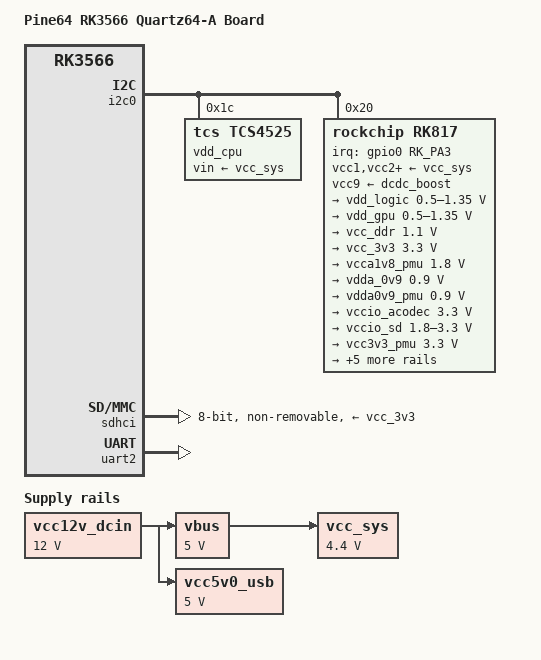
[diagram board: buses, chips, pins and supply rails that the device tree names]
// SPDX-License-Identifier: (GPL-2.0+ OR MIT)

/dts-v1/;

#include <dt-bindings/gpio/gpio.h>
#include <dt-bindings/pinctrl/rockchip.h>
#include "rk3566.dtsi"

/ {
	model = "Pine64 RK3566 Quartz64-A Board";
	compatible = "pine64,quartz64-a", "rockchip,rk3566";

	aliases {
		mmc1 = &sdhci;
	};

	chosen: chosen {
		stdout-path = "serial2:1500000n8";
	};

	vcc12v_dcin: vcc12v_dcin {
		compatible = "regulator-fixed";
		regulator-name = "vcc12v_dcin";
		regulator-always-on;
		regulator-boot-on;
		regulator-min-microvolt = <12000000>;
		regulator-max-microvolt = <12000000>;
	};

	/* vbus feeds the rk817 usb input.
	 * With no battery attached, also feeds vcc_bat+
	 * via ON/OFF_BAT jumper
	 */
	vbus: vbus {
		compatible = "regulator-fixed";
		regulator-name = "vbus";
		regulator-always-on;
		regulator-boot-on;
		regulator-min-microvolt = <5000000>;
		regulator-max-microvolt = <5000000>;
		vin-supply = <&vcc12v_dcin>;
	};

	vcc5v0_usb: vcc5v0_usb {
		compatible = "regulator-fixed";
		regulator-name = "vcc5v0_usb";
		regulator-always-on;
		regulator-boot-on;
		regulator-min-microvolt = <5000000>;
		regulator-max-microvolt = <5000000>;
		vin-supply = <&vcc12v_dcin>;
	};

	/* sourced from vbus and vcc_bat+ via rk817 sw5 */
	vcc_sys: vcc_sys {
		compatible = "regulator-fixed";
		regulator-name = "vcc_sys";
		regulator-always-on;
		regulator-boot-on;
		regulator-min-microvolt = <4400000>;
		regulator-max-microvolt = <4400000>;
		vin-supply = <&vbus>;
	};
};

&cpu0 {
	cpu-supply = <&vdd_cpu>;
};

&cpu1 {
	cpu-supply = <&vdd_cpu>;
};

&cpu2 {
	cpu-supply = <&vdd_cpu>;
};

&cpu3 {
	cpu-supply = <&vdd_cpu>;
};

&i2c0 {
	status = "okay";

	vdd_cpu: regulator@1c {
		compatible = "tcs,tcs4525";
		reg = <0x1c>;
		fcs,suspend-voltage-selector = <1>;
		regulator-name = "vdd_cpu";
		regulator-min-microvolt = <800000>;
		regulator-max-microvolt = <1150000>;
		regulator-ramp-delay = <2300>;
		regulator-always-on;
		regulator-boot-on;
		vin-supply = <&vcc_sys>;

		regulator-state-mem {
			regulator-off-in-suspend;
		};
	};

	rk817: pmic@20 {
		compatible = "rockchip,rk817";
		reg = <0x20>;
		interrupt-parent = <&gpio0>;
		interrupts = <RK_PA3 IRQ_TYPE_LEVEL_LOW>;
		clock-output-names = "rk808-clkout1", "rk808-clkout2";

		pinctrl-names = "default";
		pinctrl-0 = <&pmic_int_l>;
		rockchip,system-power-controller;
		wakeup-source;
		#clock-cells = <1>;

		vcc1-supply = <&vcc_sys>;
		vcc2-supply = <&vcc_sys>;
		vcc3-supply = <&vcc_sys>;
		vcc4-supply = <&vcc_sys>;
		vcc5-supply = <&vcc_sys>;
		vcc6-supply = <&vcc_sys>;
		vcc7-supply = <&vcc_sys>;
		vcc8-supply = <&vcc_sys>;
		vcc9-supply = <&dcdc_boost>;

		regulators {
			vdd_logic: DCDC_REG1 {
				regulator-always-on;
				regulator-boot-on;
				regulator-min-microvolt = <500000>;
				regulator-max-microvolt = <1350000>;
				regulator-init-microvolt = <900000>;
				regulator-ramp-delay = <6001>;
				regulator-initial-mode = <0x2>;
				regulator-name = "vdd_logic";
				regulator-state-mem {
					regulator-on-in-suspend;
					regulator-suspend-microvolt = <900000>;
				};
			};

			vdd_gpu: DCDC_REG2 {
				regulator-always-on;
				regulator-boot-on;
				regulator-min-microvolt = <500000>;
				regulator-max-microvolt = <1350000>;
				regulator-init-microvolt = <900000>;
				regulator-ramp-delay = <6001>;
				regulator-initial-mode = <0x2>;
				regulator-name = "vdd_gpu";
					regulator-state-mem {
					regulator-off-in-suspend;
				};
			};

			vcc_ddr: DCDC_REG3 {
				regulator-always-on;
				regulator-boot-on;
				regulator-min-microvolt = <1100000>;
				regulator-max-microvolt = <1100000>;
				regulator-initial-mode = <0x2>;
				regulator-name = "vcc_ddr";
				regulator-state-mem {
					regulator-on-in-suspend;
				};
			};

			vcc_3v3: DCDC_REG4 {
				regulator-always-on;
				regulator-boot-on;
				regulator-min-microvolt = <3300000>;
				regulator-max-microvolt = <3300000>;
				regulator-initial-mode = <0x2>;
				regulator-name = "vcc_3v3";
				regulator-state-mem {
					regulator-off-in-suspend;
				};
			};

			vcca1v8_pmu: LDO_REG1 {
				regulator-always-on;
				regulator-boot-on;
				regulator-min-microvolt = <1800000>;
				regulator-max-microvolt = <1800000>;
				regulator-name = "vcca1v8_pmu";
				regulator-state-mem {
					regulator-on-in-suspend;
					regulator-suspend-microvolt = <1800000>;
				};
			};

			vdda_0v9: LDO_REG2 {
				regulator-always-on;
				regulator-boot-on;
				regulator-min-microvolt = <900000>;
				regulator-max-microvolt = <900000>;
				regulator-name = "vdda_0v9";
				regulator-state-mem {
					regulator-off-in-suspend;
				};
			};

			vdda0v9_pmu: LDO_REG3 {
				regulator-always-on;
				regulator-boot-on;
				regulator-min-microvolt = <900000>;
				regulator-max-microvolt = <900000>;
				regulator-name = "vdda0v9_pmu";
				regulator-state-mem {
					regulator-on-in-suspend;
					regulator-suspend-microvolt = <900000>;
				};
			};

			vccio_acodec: LDO_REG4 {
				regulator-always-on;
				regulator-boot-on;
				regulator-min-microvolt = <3300000>;
				regulator-max-microvolt = <3300000>;
				regulator-name = "vccio_acodec";
				regulator-state-mem {
					regulator-off-in-suspend;
				};
			};

			vccio_sd: LDO_REG5 {
				regulator-always-on;
				regulator-boot-on;
				regulator-min-microvolt = <1800000>;
				regulator-max-microvolt = <3300000>;
				regulator-name = "vccio_sd";
				regulator-state-mem {
					regulator-off-in-suspend;
				};
			};

			vcc3v3_pmu: LDO_REG6 {
				regulator-always-on;
				regulator-boot-on;
				regulator-min-microvolt = <3300000>;
				regulator-max-microvolt = <3300000>;
				regulator-name = "vcc3v3_pmu";
				regulator-state-mem {
					regulator-on-in-suspend;
					regulator-suspend-microvolt = <3300000>;
				};
			};

			vcc_1v8: LDO_REG7 {
				regulator-always-on;
				regulator-boot-on;
				regulator-min-microvolt = <1800000>;
				regulator-max-microvolt = <1800000>;
				regulator-name = "vcc_1v8";
				regulator-state-mem {
					regulator-off-in-suspend;
				};
			};

			vcc1v8_dvp: LDO_REG8 {
				regulator-always-on;
				regulator-boot-on;
				regulator-min-microvolt = <1800000>;
				regulator-max-microvolt = <1800000>;
				regulator-name = "vcc1v8_dvp";
				regulator-state-mem {
					regulator-off-in-suspend;
				};
			};

			vcc2v8_dvp: LDO_REG9 {
				regulator-always-on;
				regulator-boot-on;
				regulator-min-microvolt = <2800000>;
				regulator-max-microvolt = <2800000>;
				regulator-name = "vcc2v8_dvp";
				regulator-state-mem {
					regulator-off-in-suspend;
				};
			};

			dcdc_boost: BOOST {
				regulator-always-on;
				regulator-boot-on;
				regulator-min-microvolt = <5000000>;
				regulator-max-microvolt = <5000000>;
				regulator-name = "boost";
				regulator-state-mem {
					regulator-off-in-suspend;
				};
			};

			otg_switch: OTG_SWITCH {
				regulator-name = "otg_switch";
				regulator-state-mem {
					regulator-off-in-suspend;
				};
			};
		};
	};
};

&pinctrl {
	pmic {
		pmic_int_l: pmic-int-l {
			rockchip,pins = <0 RK_PA3 RK_FUNC_GPIO &pcfg_pull_up>;
		};
	};
};

&sdhci {
	bus-width = <8>;
	max-frequency = <200000000>;
	non-removable;
	vmmc-supply = <&vcc_3v3>;
	vqmmc-supply = <&vcc_1v8>;
	status = "okay";
};

&uart2 {
	status = "okay";
};
